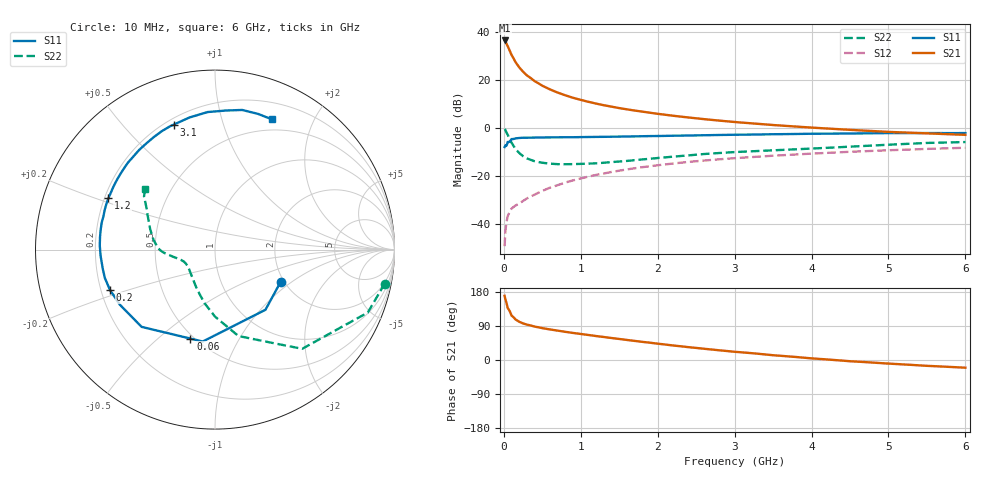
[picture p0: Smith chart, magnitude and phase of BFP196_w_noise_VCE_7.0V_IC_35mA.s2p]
! Infineon Technologies  Discrete & RF Semiconductors
! BFP196
! VCE =  7.0 V,  IC =  35 mA
! Common Emitter S-Parameters:  Jan 2017
# GHz  S  MA  R  50
!  f  S11  S21  S12  S22
! GHz  MAG  ANG  MAG  ANG  MAG  ANG  MAG  ANG
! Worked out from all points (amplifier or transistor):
!   77 points, 10 MHz to 6 GHz, reference 50 ohm
!   highest |S21| = 36.5 dB at 10 MHz (marker M1)
!   |S21| within 3 dB of that: start of sweep to 59.03 MHz
!   unconditionally stable (mu >= 1): 648.7 MHz to 2.4 GHz
!   at 130 MHz: K = 0.51, MSG = 30.8 dB, |S12| = -32.7 dB
!   at 2.2 GHz: K = 1.01, MAG = 9.3 dB, |S12| = -14.7 dB
!   at 6 GHz: K = 0.93, MSG = 2.7 dB, |S12| = -8.1 dB
!   lowest NFmin = 1.28 dB at 450 MHz
!   S11 on the Smith chart (normalised r, x): 10 MHz: 1.92, -0.83; 60 MHz: 0.48, -0.64; 200 MHz: 0.24, -0.18; 1.2 GHz: 0.22, +0.22; 3.1 GHz: 0.23, +0.70; 6 GHz: 0.37, +1.46
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0.01  0.4075 -26.2  67.17 169.4  0.0035 81.2  0.9649 -11.3
0.02  0.4375 -50.0  65.3 159.9  0.0073 75.3  0.9206 -22.4
0.05  0.5167 -97.6  51.04 137.2  0.0147 59.1  0.7359 -48.7
0.06  0.5143 -105.4  47.2 134.4  0.016 56.9  0.6798 -52.4
0.1  0.5936 -133.5  33.59 117.1  0.0212 50.8  0.499 -74.8
0.15  0.6128 -150.0  24 107.2  0.0245 49.8  0.3726 -90.1
0.2  0.6268 -159.0  18.51 100.9  0.0272 51.7  0.3045 -101.0
0.25  0.6337 -165.6  15.01 96.5  0.0306 53.0  0.2625 -109.1
0.3  0.6343 -170.1  12.58 93.3  0.0345 55.4  0.2354 -116.3
0.4  0.6383 -176.9  9.561 88.1  0.0414 59.6  0.2053 -126.8
0.5  0.6424 177.9  7.673 84.1  0.0494 61.6  0.1908 -134.6
0.6  0.6445 173.7  6.427 80.6  0.0579 62.2  0.1831 -140.9
0.7  0.6465 170.2  5.515 77.5  0.0652 63.4  0.1784 -145.7
0.9  0.6488 163.3  4.297 71.4  0.0821 63.0  0.1789 -152.2
1.1  0.6565 157.2  3.544 66.0  0.0983 62.5  0.1831 -157.1
1.2  0.6593 154.2  3.253 63.2  0.1067 61.5  0.1859 -159.2
1.6  0.6727 142.9  2.471 52.9  0.1387 57.7  0.2083 -165.5
2.1  0.6923 129.8  1.905 40.8  0.1766 51.7  0.2474 -171.9
3.1  0.7334 108.2  1.308 20.1  0.2435 39.1  0.324 176.5
4.1  0.7683 91.6  1.008 2.9  0.3011 27.3  0.3837 161.1
5.1  0.7919 77.7  0.827 -10.6  0.3521 15.7  0.4611 146.8
6  0.7921 66.5  0.727 -20.3  0.3917 5.7  0.5152 139.1
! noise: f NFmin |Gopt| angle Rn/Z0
0.45  1.28  0.35  173  0.05
0.9  1.44  0.45  -169  0.07
1.9  2.27  0.68  -134  0.27
2.4  2.68  0.71  -121  0.61
